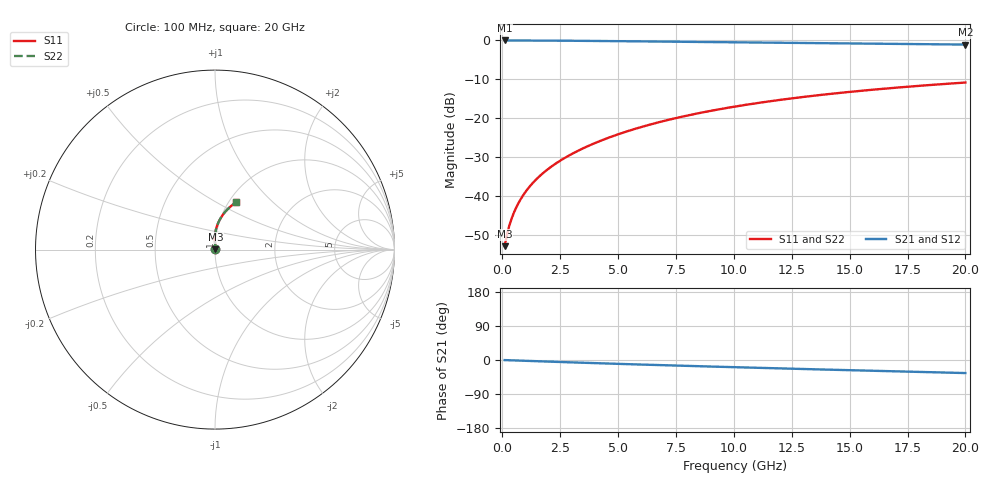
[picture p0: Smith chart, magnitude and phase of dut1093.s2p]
! Touchstone file exported from HFSS 2024.1.0
!  File:  C:/UserFiles/LocalFiles/RDL_TSV_Batchsim/temp_RDL_bottom_1093_1780053732.aedt
!  Generated:  07:24:09 PM May 29, 2026
!  Design:  RDL_bottom
!  Project:  temp_RDL_bottom_1093_1780053732
!  Setup:  Setup1
!  Solution:  Sweep
! Variables:
!  dtsv = 10.80580581um
!  hbump = 3um
!  htsv = 66.43um
!  ldown = 499.14um
!  lrdl = 100um
!  p = 40
!  p1 = 53.1um
!  rhole = 1um
!  t = 450um
!  tdown = 3.79um
!  trdl = 3.915915916um
!  wdown = 28.22um
!  wrdl = 20um
# GHz S MA R 50.000000
! Terminal data exported
! Port[1] = RDL1_T1
! Port[2] = RDL1_T2
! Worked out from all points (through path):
!   200 points, 100 MHz to 20 GHz, reference 50 ohm
!   highest |S21| = -0.02 dB at 100 MHz (marker M1); lowest = -1.1 dB at 20 GHz (marker M2)
!   group delay of S21, straight-line fit = 4.71 ps
!   lowest |S11| = -52.8 dB at 100 MHz (marker M3), VSWR 1.00, Z = 50.2 + j0.13 ohm
!   |S11| at or under -10 dB: start of sweep to end of sweep
!   |S22| runs from -52.8 to -10.8 dB; largest |S21 - S12| = 7.2e-15
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0.1  0.002296 34.4  0.9981 -0.2  0.9981 -0.2  0.002296 34.4
! Gamma 0 0 0 0
! Port Impedance 50 0 50 0
0.2  0.003211 50.8  0.9979 -0.4  0.9979 -0.4  0.003211 50.8
0.3  0.004184 59.3  0.9977 -0.7  0.9977 -0.7  0.004184 59.3
0.4  0.005166 64.8  0.9976 -0.9  0.9976 -0.9  0.005166 64.8
0.5  0.006162 68.9  0.9974 -1.1  0.9974 -1.1  0.006162 68.9
0.6  0.007176 72.0  0.9973 -1.3  0.9973 -1.3  0.007176 72.0
0.8  0.009251 76.4  0.9969 -1.7  0.9969 -1.7  0.009251 76.4
1.1  0.01246 80.7  0.9963 -2.4  0.9963 -2.4  0.01246 80.7
1.3  0.01466 82.6  0.9959 -2.8  0.9959 -2.8  0.01466 82.6
1.6  0.01803 84.8  0.995 -3.4  0.995 -3.4  0.01803 84.8
2.1  0.02383 87.2  0.9933 -4.5  0.9933 -4.5  0.02384 87.3
2.7  0.03113 89.1  0.9908 -5.7  0.9908 -5.7  0.03114 89.1
3.5  0.04143 90.4  0.9867 -7.3  0.9867 -7.3  0.04145 90.4
4.2  0.05097 90.9  0.9827 -8.7  0.9827 -8.7  0.051 90.9
5  0.06243 90.8  0.9777 -10.2  0.9777 -10.2  0.06246 90.9
6.8  0.08981 89.3  0.9659 -13.5  0.9659 -13.5  0.08988 89.4
8.4  0.1152 87.0  0.9553 -16.3  0.9553 -16.3  0.1153 87.0
10.1  0.1425 84.0  0.9442 -19.1  0.9442 -19.1  0.1427 84.0
11.7  0.168 81.0  0.9341 -21.7  0.9341 -21.7  0.1681 81.1
13.4  0.1944 77.8  0.9236 -24.4  0.9236 -24.4  0.1946 77.8
16.7  0.2432 71.7  0.9036 -29.5  0.9036 -29.5  0.2435 71.7
20  0.288 65.9  0.8838 -34.5  0.8838 -34.5  0.2884 66.0
